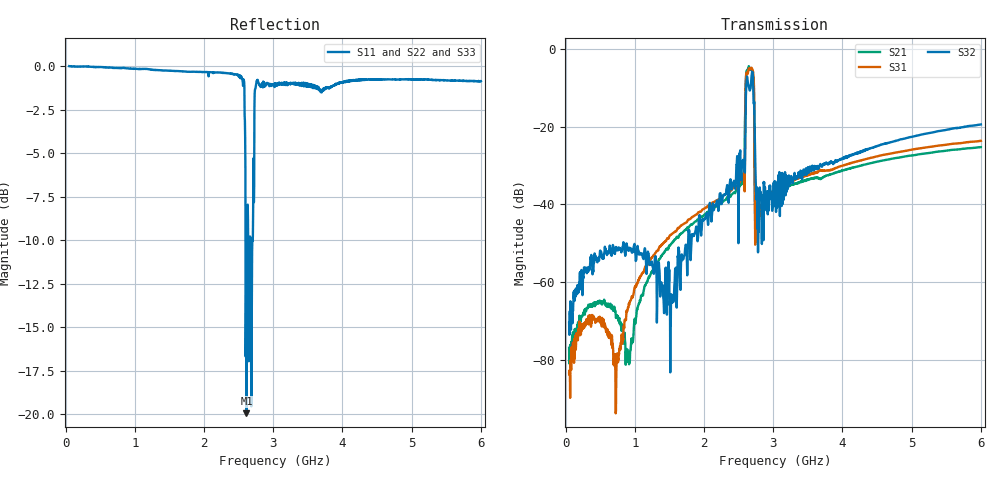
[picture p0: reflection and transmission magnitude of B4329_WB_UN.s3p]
! Matrix data file written by TouchstoneData, EPCOS AG
! FILENAME: "B4329_WB.snp"
! COMMENT: "(B4329_WB.s3p) Epcos AG 6/28/2013 11:17:32 A"
! INFO: nport=3, nfreq=1601
! DATE: "Fri Jul 12 10:25:16 2013"
! USER: "Rosemary Xue"
! port | pin | signal
!  1  |  1  |  IN
!  2  |  3  |  OUT_BAL
!  3  |  4  |  OUT_BAL
# MHZ S RI R 50
! freq  reS11 imS11  reS12 imS12  reS13 imS13  ...
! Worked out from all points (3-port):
!   1601 points, 50 MHz to 6 GHz, reference 50 ohm
!   strongest paths, dB at 50 MHz, 1.538 GHz, 3.025 GHz, 4.513 GHz, 6 GHz:
!     S32: -70.4, -65.3, -37.4, -24.9, -19.4
!     S31: -83.2, -47.6, -36.8, -27.6, -23.6
!     S21: -76.9, -49.8, -36.4, -28.9, -25.2
!   lowest |S11| = -19.9 dB at 2.612 GHz (marker M1), VSWR 1.22, Z = 50.5 + j10.2 ohm
!   |S11| at or under -10 dB: 2.599 GHz to 2.622 GHz (23.34 MHz wide, 0.894 % of centre); 2.637 GHz to 2.662 GHz (25.38 MHz wide, 0.958 % of centre); 2.667 GHz to 2.697 GHz (29.86 MHz wide, 1.11 % of centre) (the widest 3 of 4)
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50  0.9966 -0.0623  6.56e-08 0.000131  -0.000111 5.35e-05
    5.46e-05 0.000132  0.9982 -0.0384  -4.36e-05 0.00023
    8.78e-06 6.84e-05  -4.5e-05 0.000297  0.9986 -0.0382
492.5312  0.8247 -0.5515  0.000241 0.000509  0.000122 0.000323
          0.000228 0.000533  0.9327 -0.3445  0.00054 0.00217
          0.000133 0.000334  0.000526 0.00217  0.9319 -0.3437
897.875  0.5147 -0.8391  -6.38e-05 0.000105  -0.000421 -0.000215
         -6.53e-05 8e-05  0.8 -0.5807  0.00164 0.00214
         -0.000411 -0.000205  0.00161 0.00216  0.7986 -0.5778
1530.062  0.00856 -0.9687  -0.0031 -0.000523  -0.00404 -0.000675
          -0.0031 -0.0005  0.5056 -0.8315  -0.000464 0.000305
          -0.00408 -0.000706  -0.000483 0.000286  0.5113 -0.8263
2552.719  -0.8932 -0.2074  -0.0111 0.0168  -0.0127 0.0203
          -0.0111 0.0169  -0.3883 -0.8318  -0.029 0.017
          -0.0128 0.0203  -0.0289 0.0169  -0.3673 -0.8378
2612.219  0.0149 0.0997  -0.3649 -0.3529  0.3857 0.315
          -0.3663 -0.3532  -0.2488 0.1304  -0.0592 0.3658
          0.3859 0.3149  -0.0592 0.365  -0.1823 0.1885
2694.031  0.2825 -0.0722  -0.4067 -0.3137  0.4156 0.3639
          -0.4084 -0.3136  0.1128 0.2086  -0.00242 0.5075
          0.4158 0.3636  -0.00308 0.5063  0.0647 0.1432
2764.688  0.1261 -0.8952  -0.00888 -0.00295  -0.0051 0.000691
          -0.00889 -0.00293  0.4723 -0.7896  -0.0105 -0.0129
          -0.00512 0.000676  -0.0105 -0.0129  0.5044 -0.7633
3025  -0.4023 -0.7771  -0.0138 0.00599  -0.0138 0.00437
      -0.0138 0.00604  0.0537 -0.893  -0.0119 0.00635
      -0.0138 0.00439  -0.0119 0.0063  0.0752 -0.8943
6000  -0.9036 -0.0137  -0.0054 0.0542  -0.00649 0.0655
      -0.00528 0.0544  -0.7992 -0.3599  -0.0335 0.1021
      -0.00641 0.0655  -0.0334 0.1018  -0.8019 -0.3375
